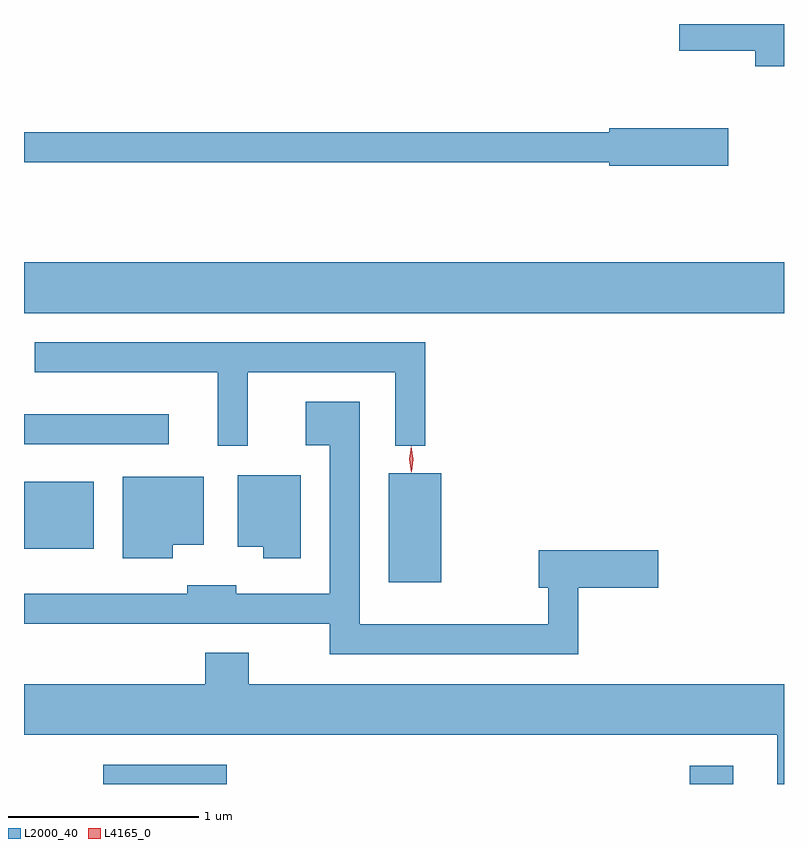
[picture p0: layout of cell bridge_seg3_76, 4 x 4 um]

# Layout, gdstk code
import gdstk
lib = gdstk.Library(unit=1e-6, precision=1e-09)
def R(c, l, rs):  # rectangles x0, y0, x1, y1
    for r in rs: c.add(gdstk.rectangle(r[:2], r[2:], *l))
def P(c, l, *ps):  # polygons
    for p in ps: c.add(gdstk.Polygon(p, *l))
L2000_40 = (2000, 40)
L4165_0 = (4165, 0)

bridge_seg3_76 = lib.new_cell('bridge_seg3_76')
R(bridge_seg3_76, L2000_40, [(1128.723,1165.718,1129.374,1165.819), (1131.811,1165.718,1132.039,1165.814), (1130.226,1166.781,1130.504,1167.354), (1128.307,1166.956,1128.674,1167.309), (1128.307,1167.506,1129.068,1167.664), (1128.307,1168.196,1132.307,1168.464)])
P(bridge_seg3_76, L2000_40, [(1132.307,1169.718),(1131.756,1169.718),(1131.756,1169.576),(1132.156,1169.576),(1132.156,1169.496),(1132.307,1169.496)],
  [(1132.014,1169.169),(1131.386,1169.169),(1131.386,1169.149),(1128.307,1169.149),(1128.307,1168.991),(1131.386,1168.991),(1131.386,1168.971),(1132.014,1168.971)],
  [(1129.484,1167.886),(1130.261,1167.886),(1130.261,1167.498),(1130.419,1167.498),(1130.419,1168.044),(1128.363,1168.044),(1128.363,1167.886),(1129.326,1167.886),(1129.326,1167.498),(1129.484,1167.498)],
  [(1131.224,1166.751),(1131.644,1166.751),(1131.644,1166.949),(1131.016,1166.949),(1131.016,1166.751),(1131.066,1166.751),(1131.066,1166.559),(1130.074,1166.559),(1130.074,1167.729),(1129.791,1167.729),(1129.791,1167.501),(1129.916,1167.501),(1129.916,1166.719),(1129.424,1166.719),(1129.424,1166.764),(1129.166,1166.764),(1129.166,1166.719),(1128.307,1166.719),(1128.307,1166.561),(1129.916,1166.561),(1129.916,1166.401),(1131.224,1166.401)],
  [(1129.764,1167.344),(1129.431,1167.344),(1129.431,1166.966),(1129.566,1166.966),(1129.566,1166.906),(1129.764,1166.906)],
  [(1129.089,1166.976),(1129.254,1166.976),(1129.254,1167.334),(1128.826,1167.334),(1128.826,1166.906),(1129.089,1166.906)],
  [(1132.307,1166.244),(1129.489,1166.244),(1129.489,1166.409),(1129.261,1166.409),(1129.261,1166.244),(1128.307,1166.244),(1128.307,1165.976),(1132.271,1165.976),(1132.271,1165.718),(1132.307,1165.718)])
P(bridge_seg3_76, L4165_0, [(1130.347,1167.361),(1130.346,1167.362),(1130.335,1167.427),(1130.344,1167.492),(1130.344,1167.493),(1130.345,1167.492),(1130.356,1167.427),(1130.347,1167.362)],
  [(1130.346,1167.359),(1130.346,1167.36),(1130.335,1167.427),(1130.344,1167.496),(1130.344,1167.496),(1130.345,1167.496),(1130.355,1167.428),(1130.346,1167.36)])

lib.write_gds('bridge_seg3_76.gds')
